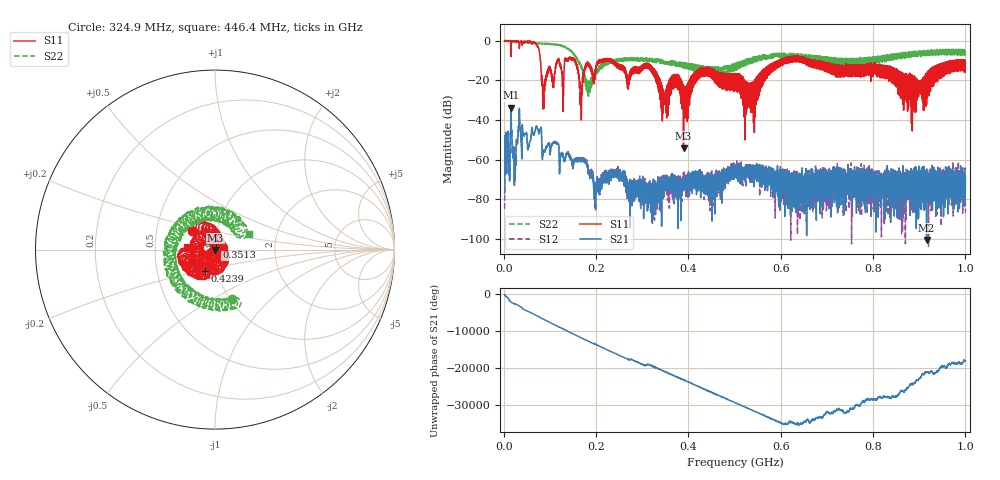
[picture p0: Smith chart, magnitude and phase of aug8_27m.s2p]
!Keysight Technologies N9923A: A.12.45
!Date: Friday, 08 August 2025 17:49:13
!Timezone: (UTC+08:00) Kuala Lumpur, Singapore
!Model: N9923A
!Serial: MY61181427
!GPS Latitude:
!GPS Longitude:
!GPS TimeStamp: 0001-01-01 00:00:00Z
!GPS Seconds Since Last Read: 0
!CHECKSUM:1976676344
!Correction: S11(ON U)S21(ON U)S12(ON U)S22(ON U)
!S2P File: Measurements:S11,S21,S12,S22:
# Hz S DB R 50
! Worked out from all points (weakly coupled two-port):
!   4001 points, 2 MHz to 1 GHz, reference 50 ohm
!   highest |S21| = -33.82 dB at 15.97 MHz (marker M1); lowest = -100.4 dB at 915.9 MHz (marker M2)
!   lowest |S11| = -54.3 dB at 389.5 MHz (marker M3), VSWR 1.00, Z = 50.1 - j0.168 ohm
!   |S11| at or under -10 dB: 155.2 MHz to 205.9 MHz (50.7 MHz wide, 28.1 % of centre); 236 MHz to 596.1 MHz (360.1 MHz wide, 86.5 % of centre); 675.7 MHz to 974.2 MHz (298.6 MHz wide, 36.2 % of centre) (the widest 3 of 91)
!   |S22| runs from -28.1 to 0.1 dB; largest |S21 - S12| = 0.0011
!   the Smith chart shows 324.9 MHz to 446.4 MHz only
!   S11 on the Smith chart (normalised r, x): 324.9 MHz: 0.75, +0.16; 351.3 MHz: 1.02, +0.03; 423.9 MHz: 0.87, -0.21; 446.4 MHz: 0.73, +0.03
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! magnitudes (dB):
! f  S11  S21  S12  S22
! 2 MHz  -0.1  -77.0  -84.7  0.0
! 15.97 MHz  -6.8  -33.8  -33.7  -0.8
! 70.86 MHz  -2.0  -42.9  -42.8  -1.3
! 86.83 MHz  -34.3  -55.4  -54.8  -1.7
! 145.2 MHz  -8.4  -58.7  -58.5  -5.4
! 168.4 MHz  -35.6  -61.1  -59.6  -13.8
! 199.4 MHz  -13.5  -77.5  -81.3  -14.7
! 245.5 MHz  -11.9  -69.0  -65.9  -10.6
! 324.9 MHz  -15.5  -78.0  -75.1  -10.7
! 334.8 MHz  -19.1  -76.3  -71.2  -11.3
! 351.3 MHz  -36.2  -69.6  -67.8  -11.0
! 372 MHz  -17.2  -75.5  -69.6  -12.4
! 389.5 MHz  -54.3  -75.2  -70.1  -11.0
! 423.9 MHz  -17.5  -68.2  -68.9  -15.9
! 446.4 MHz  -16.1  -75.7  -85.7  -13.6
! 501 MHz  -16.5  -64.0  -63.3  -15.1
! 538.2 MHz  -23.7  -62.6  -70.6  -11.4
! 599.6 MHz  -9.5  -70.9  -65.9  -6.4
! 667.4 MHz  -10.2  -69.3  -79.9  -8.2
! 833.8 MHz  -18.7  -73.0  -68.6  -8.1
! 915.9 MHz  -32.3  -100.4  -70.5  -7.5
! 1 GHz  -11.5  -69.3  -86.6  -6.1
